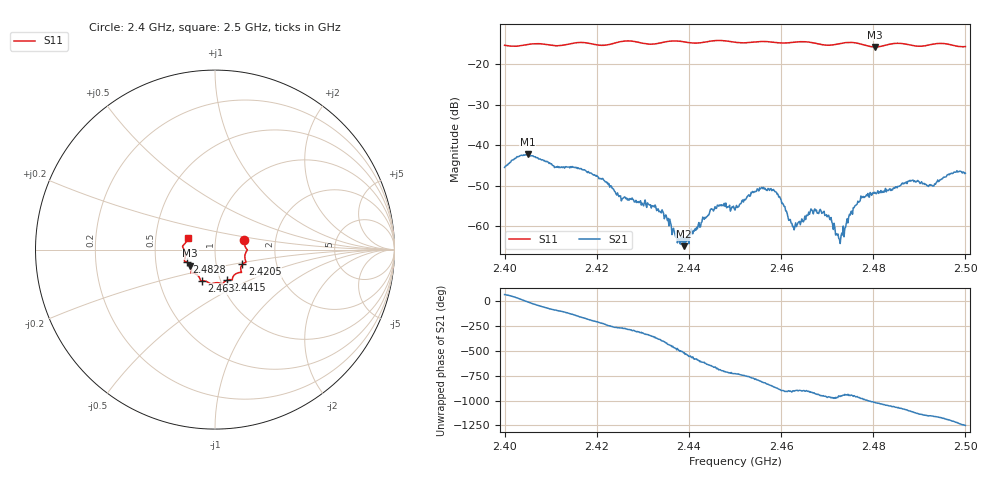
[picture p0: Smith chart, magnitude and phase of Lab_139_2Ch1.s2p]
# Hz S RI R 50
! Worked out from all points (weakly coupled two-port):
!   601 points, 2.4 GHz to 2.5 GHz, reference 50 ohm
!   highest |S21| = -42.18 dB at 2.405 GHz (marker M1); lowest = -65.0 dB at 2.4388 GHz (marker M2)
!   lowest |S11| = -15.7 dB at 2.4803 GHz (marker M3), VSWR 1.39, Z = 37.4 - j6.84 ohm
!   |S11| at or under -10 dB: start of sweep to end of sweep
!   S12 and S22 are empty: the file has one direction only
!   S11 on the Smith chart (normalised r, x): 2.4 GHz: 1.38, +0.15; 2.4205 GHz: 1.34, -0.22; 2.4415 GHz: 1.07, -0.38; 2.463 GHz: 0.82, -0.29; 2.4828 GHz: 0.72, -0.10; 2.5 GHz: 0.73, +0.10
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2.4e9  0.1638 0.052  0.00215 0.00486  0 0  0 0
2.405e9  0.1758 0.00415  0.00771 -0.000992  0 0  0 0
2.416667e9  0.1729 -0.07  -0.00489 -0.0015  0 0  0 0
2.4205e9  0.1521 -0.0815  -0.00316 0.0022  0 0  0 0
2.425167e9  0.1463 -0.1226  1.88e-05 0.00236  0 0  0 0
2.433333e9  0.1001 -0.1514  0.00153 -0.000579  0 0  0 0
2.437667e9  0.095 -0.1691  -0.000462 -0.000533  0 0  0 0
2.438833e9  0.0895 -0.1677  -0.000533 -0.000186  0 0  0 0
2.4415e9  0.066 -0.1708  -0.000644 0.000611  0 0  0 0
2.446167e9  0.0409 -0.193  0.00128 0.00128  0 0  0 0
2.45e9  0.0242 -0.186  0.00156 -0.000247  0 0  0 0
2.455333e9  -0.0183 -0.1905  0.000424 -0.00294  0 0  0 0
2.458167e9  -0.0326 -0.1853  -0.00201 -0.00194  0 0  0 0
2.463e9  -0.0721 -0.1739  -0.001 2.03e-05  0 0  0 0
2.466667e9  -0.0821 -0.167  -0.00153 0.000421  0 0  0 0
2.470333e9  -0.1021 -0.1389  -0.000665 0.00118  0 0  0 0
2.472833e9  -0.1256 -0.1302  -0.000313 0.000523  0 0  0 0
2.476167e9  -0.1334 -0.1273  -0.000856 0.00159  0 0  0 0
2.480333e9  -0.1378 -0.0891  0.00123 0.00231  0 0  0 0
2.482833e9  -0.1587 -0.0701  0.00224 0.00142  0 0  0 0
2.483333e9  -0.1625 -0.068  0.00242 0.00133  0 0  0 0
2.5e9  -0.1528 0.0643  -0.00445 -0.000766  0 0  0 0
